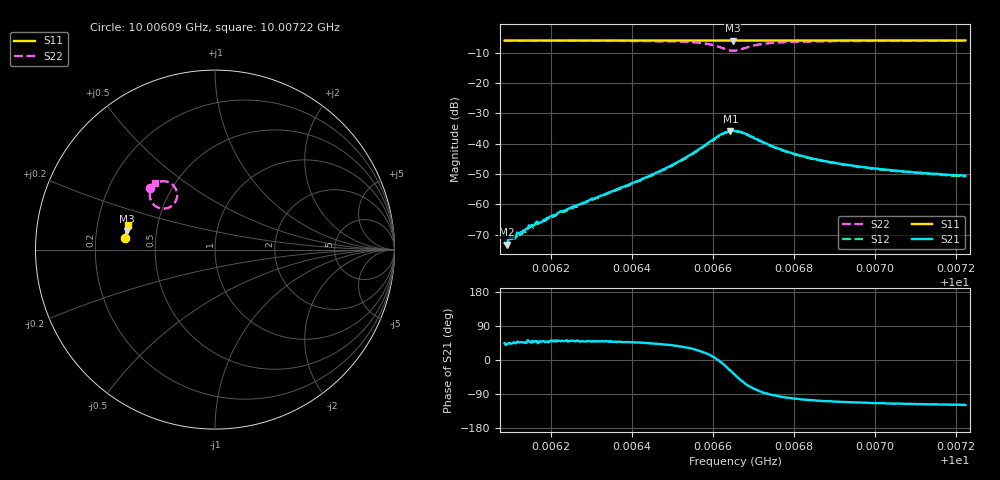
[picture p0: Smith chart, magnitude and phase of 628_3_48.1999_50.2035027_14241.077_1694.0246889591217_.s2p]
#  HZ  S  RI  R  50.00
! Rohde & Schwarz Vector Network Analyzer
! Rohde-Schwarz,ZNB20-2Port,1311601062101988,3.16
! Created: UTC 3/20/2024, 12:04:12 PM
! freq[Hz]  re:S11  im:S11  re:S21  im:S21  re:S12  im:S12  re:S22  im:S22
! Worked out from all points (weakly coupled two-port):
!   401 points, 10.00609 GHz to 10.00722 GHz, reference 50 ohm
!   highest |S21| = -35.73 dB at 10.00664 GHz (marker M1); lowest = -73.3 dB at 10.00609 GHz (marker M2)
!   lowest |S11| = -6.0 dB at 10.00665 GHz (marker M3), VSWR 3.02, Z = 16.7 + j4.54 ohm
!   |S11| at or under -10 dB: nowhere
!   |S22| runs from -9.3 to -6.0 dB; largest |S21 - S12| = 0.0012
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1.0006087e10  -0.4989 0.066  0.000165 0.000161  0.000151 0.000163  -0.3635 0.3415
1.0006092e10  -0.4989 0.0664  0.000162 0.000145  0.000132 0.000157  -0.3631 0.3419
1.0006101e10  -0.4987 0.0668  0.000215 0.0002  0.000161 0.00017  -0.3626 0.3425
1.0006109e10  -0.4988 0.0674  0.000203 0.000218  0.000192 0.000216  -0.3622 0.3431
1.0006135e10  -0.4986 0.069  0.000263 0.000268  0.00024 0.000262  -0.3604 0.345
1.0006149e10  -0.4985 0.07  0.000302 0.000331  0.000302 0.000304  -0.3594 0.3458
1.0006223e10  -0.4979 0.0748  0.000484 0.000586  0.000415 0.000572  -0.354 0.3514
1.0006277e10  -0.4975 0.0784  0.00066 0.000784  0.000605 0.000813  -0.3492 0.3557
1.0006467e10  -0.4956 0.0909  0.00258 0.00234  0.00239 0.00239  -0.3195 0.375
1.0006527e10  -0.4948 0.0949  0.00464 0.00317  0.00434 0.00333  -0.2959 0.381
1.0006584e10  -0.4937 0.0985  0.00933 0.003  0.00891 0.00336  -0.2499 0.3713
1.0006618e10  -0.4926 0.1005  0.014 -0.00105  0.0135 -6.31e-05  -0.2142 0.3268
1.0006644e10  -0.4923 0.1014  0.0145 -0.00761  0.0146 -0.00659  -0.2225 0.264
1.0006649e10  -0.4922 0.1016  0.0136 -0.00905  0.0138 -0.00807  -0.2322 0.2512
1.0006655e10  -0.4922 0.1018  0.0125 -0.0104  0.013 -0.00947  -0.2442 0.2412
1.0006678e10  -0.4925 0.103  0.00739 -0.0129  0.00801 -0.0123  -0.2984 0.2289
1.0006717e10  -0.4927 0.1054  0.00137 -0.0111  0.00191 -0.0109  -0.3507 0.2617
1.000678e10  -0.4923 0.1097  -0.00119 -0.00745  -0.000765 -0.00741  -0.3638 0.3049
1.0006845e10  -0.4916 0.1142  -0.00156 -0.00552  -0.0013 -0.00547  -0.3605 0.3275
1.0006919e10  -0.4906 0.1189  -0.00163 -0.00432  -0.00141 -0.00438  -0.3547 0.3421
1.0007036e10  -0.4891 0.1262  -0.00153 -0.00339  -0.00135 -0.00336  -0.3462 0.3564
1.0007223e10  -0.4862 0.1381  -0.00142 -0.00259  -0.00129 -0.00263  -0.3342 0.3712
